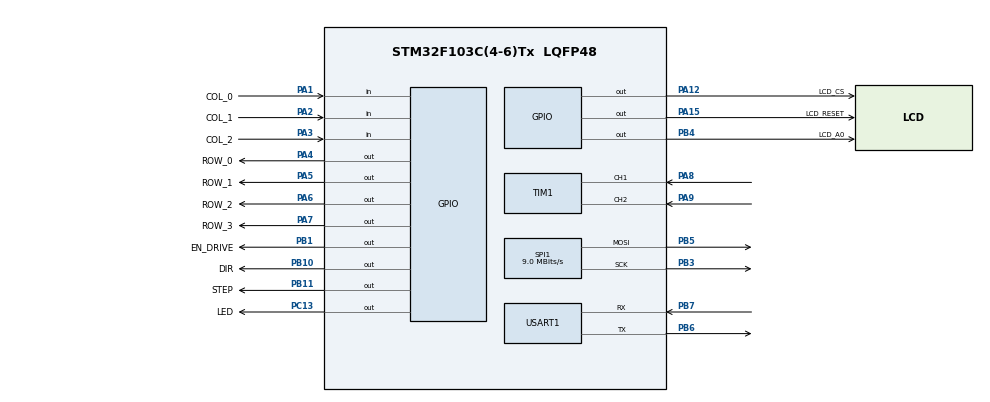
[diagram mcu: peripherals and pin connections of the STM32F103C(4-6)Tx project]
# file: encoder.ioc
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Mcu.Family=STM32F1
Mcu.Name=STM32F103C(4-6)Tx
Mcu.Package=LQFP48
NVIC.PriorityGroup=NVIC_PRIORITYGROUP_4
PA1.GPIO_Label=COL_0
PA1.GPIO_PuPd=GPIO_PULLDOWN
PA1.Signal=GPIO_Input
PA12.GPIO_Label=LCD_CS
PA12.GPIO_PuPd=GPIO_NOPULL
PA12.Signal=GPIO_Output
PA13.Mode=Serial_Wire
PA13.Signal=SYS_JTMS-SWDIO
PA14.Mode=Serial_Wire
PA14.Signal=SYS_JTCK-SWCLK
PA15.GPIO_Label=LCD_RESET
PA15.GPIO_PuPd=GPIO_NOPULL
PA15.Signal=GPIO_Output
PA2.GPIO_Label=COL_1
PA2.GPIO_PuPd=GPIO_PULLDOWN
PA2.Signal=GPIO_Input
PA3.GPIO_Label=COL_2
PA3.GPIO_PuPd=GPIO_PULLDOWN
PA3.Signal=GPIO_Input
PA4.GPIO_Label=ROW_0
PA4.Signal=GPIO_Output
PA5.GPIO_Label=ROW_1
PA5.Signal=GPIO_Output
PA6.GPIO_Label=ROW_2
PA6.Signal=GPIO_Output
PA7.GPIO_Label=ROW_3
PA7.Signal=GPIO_Output
PA8.GPIO_PuPd=GPIO_PULLUP
PA8.Signal=S_TIM1_CH1
PA9.GPIO_PuPd=GPIO_PULLUP
PA9.Signal=S_TIM1_CH2
PB1.GPIO_Label=EN_DRIVE
PB1.Signal=GPIO_Output
PB10.GPIO_Label=DIR
PB10.Signal=GPIO_Output
PB11.GPIO_Label=STEP
PB11.Signal=GPIO_Output
PB3.Mode=TX_Only_Simplex_Unidirect_Master
PB3.Signal=SPI1_SCK
PB4.GPIO_Label=LCD_A0
PB4.Signal=GPIO_Output
PB5.Mode=TX_Only_Simplex_Unidirect_Master
PB5.Signal=SPI1_MOSI
PB6.Mode=Asynchronous
PB6.Signal=USART1_TX
PB7.Mode=Asynchronous
PB7.Signal=USART1_RX
PC13-TAMPER-RTC.GPIO_Label=LED
PC13-TAMPER-RTC.Signal=GPIO_Output
PD0-OSC_IN.Mode=HSE-External-Oscillator
PD0-OSC_IN.Signal=RCC_OSC_IN
PD1-OSC_OUT.Mode=HSE-External-Oscillator
PD1-OSC_OUT.Signal=RCC_OSC_OUT
ProjectManager.HeapSize=0x300
ProjectManager.StackSize=0x600
ProjectManager.TargetToolchain=MDK-ARM V5.32
RCC.AHBFreq_Value=72000000
RCC.APB1CLKDivider=RCC_HCLK_DIV2
RCC.APB1Freq_Value=36000000
RCC.APB1TimFreq_Value=72000000
RCC.APB2Freq_Value=72000000
RCC.APB2TimFreq_Value=72000000
RCC.HCLKFreq_Value=72000000
RCC.PLLMUL=RCC_PLL_MUL9
RCC.PLLSourceVirtual=RCC_PLLSOURCE_HSE
RCC.SYSCLKFreq_VALUE=72000000
RCC.SYSCLKSource=RCC_SYSCLKSOURCE_PLLCLK
RCC.USBFreq_Value=72000000
SH.S_TIM1_CH1.0=TIM1_CH1,Encoder_Interface
SH.S_TIM1_CH2.0=TIM1_CH2,Encoder_Interface
SPI1.BaudRatePrescaler=SPI_BAUDRATEPRESCALER_8
SPI1.CalculateBaudRate=9.0 MBits/s
SPI1.Direction=SPI_DIRECTION_2LINES
SPI1.Mode=SPI_MODE_MASTER
SPI1.VirtualType=VM_MASTER
TIM1.IC1Filter=1
TIM1.IC2Filter=2
USART1.VirtualMode=VM_ASYNC
board=custom

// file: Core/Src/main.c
/* USER CODE BEGIN Header */
/**
  ******************************************************************************
  * @file           : main.c
  * @brief          : Main program body
  ******************************************************************************
  * @attention
  *
  * Copyright (c) 2023 STMicroelectronics.
  * All rights reserved.
  *
  * This software is licensed under terms that can be found in the LICENSE file
  * in the root directory of this software component.
  * If no LICENSE file comes with this software, it is provided AS-IS.
  *
  ******************************************************************************
  */
/* USER CODE END Header */
#include "main.h"
#include "spi.h"
#include "tim.h"
#include "usart.h"
#include "gpio.h"

/* USER CODE BEGIN Includes */
#include "stdio.h"
#include "string.h"
#include "st7735.h"
#include "typedef.h"
#include "Font.h"
/* USER CODE END Includes */

/* USER CODE BEGIN PV */
char LCD_buff[16];
__IO int32_t prevCounter = 0;
__IO int32_t currCounter = 0;

const uint8_t ROWS = 4; //число строк у нашей клавиатуры
const uint8_t COLS = 3; //число столбцов у нашей клавиатуры

uint32_t key_status = 0;

struct KEY_MACHINE_t
{
	KEY_CODE_t 		key_code;
	KEY_STATE_t 	key_state;
} ;

struct KEY_MACHINE_t KEY_MACHINE;

/* USER CODE END PV */

void SystemClock_Config(void);
/* USER CODE BEGIN PFP */
void encoder_init(void);
void loop(void);
uint32_t scan_keys (void);
/* USER CODE END PFP */

int main(void)
{

  /* MCU Configuration--------------------------------------------------------*/

  /* Reset of all peripherals, Initializes the Flash interface and the Systick. */
  HAL_Init();

  /* Configure the system clock */
  SystemClock_Config();

  /* Initialize all configured peripherals */
  MX_GPIO_Init();
  MX_USART1_UART_Init();
  MX_SPI1_Init();
  MX_TIM1_Init();
  /* USER CODE BEGIN 2 */

	encoder_init();

	lcdInit();
	ClearLcdMemory();
	LCD_SetFont (Arial_22x23, black);
	LCD_ShowString (5,0,"start...");
	LCD_Refresh();

	LED_RED(OFF);

	DIR_DRIVE(BACKWARD);
	DRIVE_ENABLE(OFF);

	KEY_MACHINE.key_code = NO_KEY;
  /* USER CODE END 2 */

  /* Infinite loop */
  /* USER CODE BEGIN WHILE */
  while (1)
  {
		{
			for (uint32_t count = 0; count < 0x6FFFF; count++)
			{
				loop();
				if ((key_status = scan_keys()) != NO_KEY)
				{
					snprintf(LCD_buff, sizeof(LCD_buff), "%x", key_status);
					ClearLcdMemory();
					LCD_ShowString(3, 10, LCD_buff);
					LCD_Refresh();
				}
			}
			TOOGLE_LED_RED();
		}
    /* USER CODE END WHILE */

  }
}

void SystemClock_Config(void)
{
  LL_FLASH_SetLatency(LL_FLASH_LATENCY_2);
  while(LL_FLASH_GetLatency()!= LL_FLASH_LATENCY_2)
  {
  }
  LL_RCC_HSE_Enable();

   /* Wait till HSE is ready */
  while(LL_RCC_HSE_IsReady() != 1)
  {

  }
  LL_RCC_PLL_ConfigDomain_SYS(LL_RCC_PLLSOURCE_HSE_DIV_1, LL_RCC_PLL_MUL_9);
  LL_RCC_PLL_Enable();

   /* Wait till PLL is ready */
  while(LL_RCC_PLL_IsReady() != 1)
  {

  }
  LL_RCC_SetAHBPrescaler(LL_RCC_SYSCLK_DIV_1);
  LL_RCC_SetAPB1Prescaler(LL_RCC_APB1_DIV_2);
  LL_RCC_SetAPB2Prescaler(LL_RCC_APB2_DIV_1);
  LL_RCC_SetSysClkSource(LL_RCC_SYS_CLKSOURCE_PLL);

   /* Wait till System clock is ready */
  while(LL_RCC_GetSysClkSource() != LL_RCC_SYS_CLKSOURCE_STATUS_PLL)
  {

  }
  LL_SetSystemCoreClock(72000000);

   /* Update the time base */
  if (HAL_InitTick (TICK_INT_PRIORITY) != HAL_OK)
  {
    Error_Handler();
  }
}

/* USER CODE BEGIN 4 */
//--------------------------------------------------------------------------------------------------------//
void encoder_init(void)
{

  LL_TIM_SetCounter(TIM1, 32760); // начальное значение счетчика:

	LL_TIM_CC_EnableChannel(TIM1,LL_TIM_CHANNEL_CH1); //Enable the encoder interface channels
	LL_TIM_CC_EnableChannel(TIM1,LL_TIM_CHANNEL_CH2);

  LL_TIM_EnableCounter(TIM1);     // включение таймера
}

//--------------------------------------------------------------------------------------------------------//
void loop(void)
{
	currCounter = LL_TIM_GetCounter(TIM1); //текущее показание энкодера
	currCounter = (32767 - ((currCounter-1) & 0x0FFFF))/2; //деление на 2, чтобы считать щелчки (щелчок = 2 импульса)
	int32_t need_step = 0;
	int32_t delta = 0;

	if(currCounter != prevCounter)
	{
		delta = (currCounter-prevCounter); //разница между текущим и предыдущим показанием энкодера
    prevCounter = currCounter; //сохранение текущего показанаия энкодера
    // защита от дребезга контактов и переполнения счетчика (переполнение будет случаться очень редко)
   // if((delta > -20) && (delta < 20))
		if (delta != 0)
		{
			/*snprintf(LCD_buff, sizeof(LCD_buff), "%06d %03d", currCounter, delta);
			ClearLcdMemory();
			LCD_ShowString(3, 10, LCD_buff);
			LCD_Refresh();*/
			if (delta < 0)
			{
				DRIVE_ENABLE(ON); //сигнал разрешения контроллеру
				DIR_DRIVE(BACKWARD); //направление вращения
				HAL_Delay(5);
				need_step = 5*delta; //количество шагов

				while (need_step < 0)
				{
					STEP(ON);
					HAL_Delay(3);
					STEP(OFF);
					HAL_Delay(3);
					need_step++;
				}
				STEP(ON);
				DIR_DRIVE(FORWARD);
				HAL_Delay(3);
				STEP(OFF);
				DRIVE_ENABLE(OFF);
			}
			else
			{
				if (delta > 0)
				{
					DRIVE_ENABLE(ON);
					DIR_DRIVE(FORWARD);
					HAL_Delay(5);
					need_step = 5*delta;
					while (need_step > 0)
					{
						STEP(ON);
						HAL_Delay(3);
						STEP(OFF);
						HAL_Delay(3);
						need_step--;
					}
					STEP(ON);
					DIR_DRIVE(BACKWARD);
					HAL_Delay(3);
					STEP(OFF);
					DRIVE_ENABLE(OFF);
				}
			}
		}
	}
}

//--------------------------------------------------------------------------------------------------------//
uint32_t scan_keys (void)
{
	static __IO uint8_t key_state = KEY_STATE_OFF; // начальное состояние кнопки - не нажата
	static __IO uint16_t key_repeat_time_cnt; // счетчик времени повтора
	static __IO uint8_t kscan_step = 0; // шаг (фаза) сканирования

	if(key_state == KEY_STATE_OFF) //если кнопка была отпущена - ожидание нажатия
	{
		if(LL_GPIO_IsInputPinSet(COL_0_GPIO_Port,  COL_0_Pin) == 1)	//если кнопка была нажата - получение кода нажатой кнопки
		{
			key_state =  KEY_STATE_ON; //установка режима - кнопка нажата
			switch (kscan_step)
			{
				case 0:
					KEY_MACHINE.key_code = KEY_s0_d0;
					break;
				case 1:
					KEY_MACHINE.key_code = KEY_s1_d0;
					break;
				case 2:
					KEY_MACHINE.key_code = KEY_s2_d0;
					break;
				case 3:
					KEY_MACHINE.key_code = KEY_s3_d0;
					break;
				default:
					break;
			}
		}
		else
		{
			if (LL_GPIO_IsInputPinSet(COL_1_GPIO_Port, COL_1_Pin) == 1)
			{
				key_state =  KEY_STATE_ON;
				switch (kscan_step)
				{
					case 0:
						KEY_MACHINE.key_code =KEY_s0_d1;
						break;
					case 1:
						KEY_MACHINE.key_code =KEY_s1_d1;
						break;
					case 2:
						KEY_MACHINE.key_code =KEY_s2_d1;
						break;
					case 3:
						KEY_MACHINE.key_code =KEY_s3_d1;
						break;
					default:
						break;
				}
			}
			else
			{
				if (LL_GPIO_IsInputPinSet(COL_2_GPIO_Port, COL_2_Pin) == 1)
				{
					key_state =  KEY_STATE_ON;
					switch (kscan_step)
					{
						case 0:
							KEY_MACHINE.key_code = KEY_s0_d2;
							break;
						case 1:
							KEY_MACHINE.key_code = KEY_s1_d2;
							break;
						case 2:
							KEY_MACHINE.key_code = KEY_s2_d2;
							break;
						case 3:
							KEY_MACHINE.key_code = KEY_s3_d2;
							break;
						default:
							break;
					}
				}
			}
		}
	}

	if (key_state ==  KEY_STATE_ON)
	{
		key_state = KEY_STATE_BOUNCE; // состояние кнопки - дребезг
		key_repeat_time_cnt = KEY_BOUNCE_TIME; // счетчик времени дребезга - устанавливаем
	}

	if(key_state == KEY_STATE_BOUNCE) // пропускаем интервал дребезга
	{
		if(key_repeat_time_cnt > 0)
		{key_repeat_time_cnt--;} // счетчик времени дребезга - уменьшаем

		else // дребезг кончился
		{
			key_state = KEY_STATE_AUTOREPEAT; // кнопка нажата
			key_repeat_time_cnt = KEY_AUTOREPEAT_TIME; // счетчик времени автоповтора - устанавливаем
		}
	}
	if (key_state == KEY_STATE_AUTOREPEAT)
	{
		if(key_repeat_time_cnt > 0)
			{key_repeat_time_cnt--;} // уменьшаем счетчик автоповтора

		else
		{
			if(((LL_GPIO_IsInputPinSet(COL_0_GPIO_Port, COL_0_Pin)) || (LL_GPIO_IsInputPinSet(COL_1_GPIO_Port, COL_1_Pin)) || (LL_GPIO_IsInputPinSet(COL_2_GPIO_Port, COL_2_Pin))) == 0) // если кнопка отпущена
			{
				key_state = KEY_STATE_OFF; //возврат в начальное состояние ожидания нажатия кнопки
				return KEY_MACHINE.key_code;
			}
			else // кнопка продолжает удерживаться
				{key_repeat_time_cnt = KEY_AUTOREPEAT_TIME;} // установим счетчик автоповтора
		}
	}
	switch(kscan_step) // сканирование клавиатуры
	{
		case 0:
			kscan_step = 1; // следующий шаг (фаза) сканирования
			SCAN_ROW2(ON); // линия активирована
			SCAN_ROW1(OFF); // линия не активирована
			break;

		case 1:
			kscan_step = 2; // шаг (фаза) сканирования
			SCAN_ROW3(ON); // линия активирована
			SCAN_ROW2(OFF); // линия не активирована
			break;

		case 2:
			kscan_step = 3; // шаг (фаза) сканирования
			SCAN_ROW4(ON); // линия активирована
			SCAN_ROW3(OFF); // линия не активирована
			break;

		case 3:
			kscan_step = 0; // шаг (фаза) сканирования
			SCAN_ROW1(ON); // линия активирована
			SCAN_ROW4(OFF); // линия не активирована
			break;

		default:
			break;
	}
	return NO_KEY;
}
/* USER CODE END 4 */

void Error_Handler(void)
{
  __disable_irq();
  while (1)
  {
  }
}
